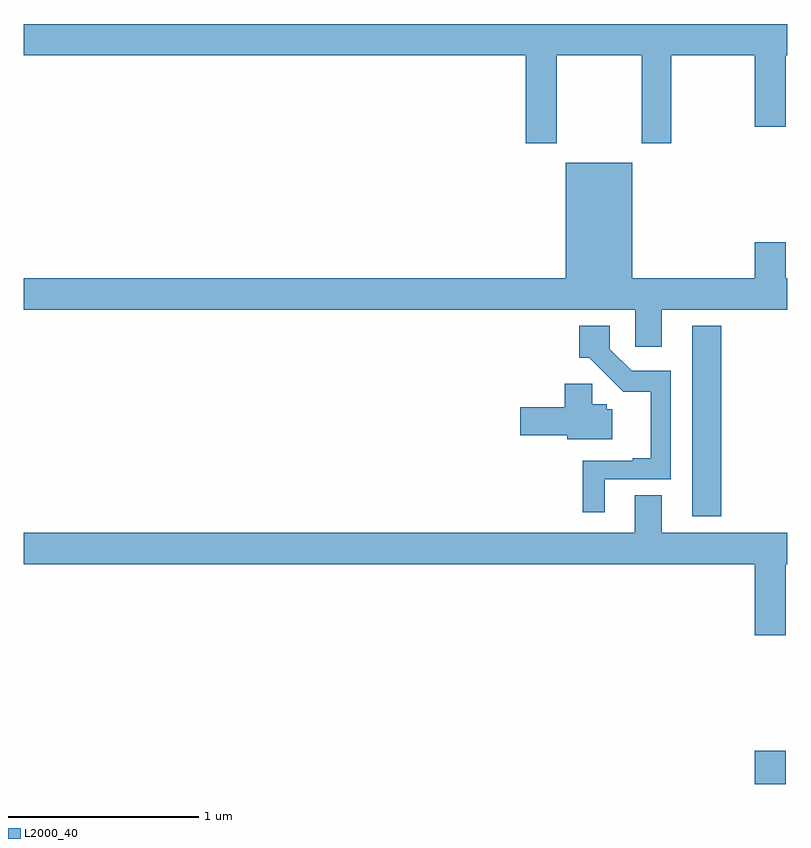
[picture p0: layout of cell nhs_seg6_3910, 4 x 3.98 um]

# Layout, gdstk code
import gdstk
lib = gdstk.Library(unit=1e-6, precision=1e-09)
def R(c, l, rs):  # rectangles x0, y0, x1, y1
    for r in rs: c.add(gdstk.rectangle(r[:2], r[2:], *l))
def P(c, l, *ps):  # polygons
    for p in ps: c.add(gdstk.Polygon(p, *l))
L2000_40 = (2000, 40)

nhs_seg6_3910 = lib.new_cell('nhs_seg6_3910')
R(nhs_seg6_3910, L2000_40, [(344.828,963.5,344.992,963.673), (344.501,964.901,344.654,965.899)])
P(nhs_seg6_3910, L2000_40, [(343.791,967.316),(344.236,967.316),(344.236,966.855),(344.391,966.855),(344.391,967.316),(344.828,967.316),(344.828,966.942),(344.992,966.942),(344.992,967.316),(345,967.316),(345,967.48),(341,967.48),(341,967.316),(343.631,967.316),(343.631,966.855),(343.791,966.855)],
  [(344.341,965.984),(345,965.984),(345,966.148),(344.992,966.148),(344.992,966.337),(344.828,966.337),(344.828,966.148),(344.188,966.148),(344.188,966.754),(343.838,966.754),(343.838,966.148),(341,966.148),(341,965.984),(344.202,965.984),(344.202,965.79),(344.341,965.79)],
  [(344.044,965.097),(344.389,965.097),(344.389,965.664),(344.184,965.664),(344.07,965.778),(344.07,965.899),(343.91,965.899),(343.91,965.732),(343.963,965.732),(344.141,965.555),(344.285,965.555),(344.285,965.206),(344.189,965.206),(344.189,965.193),(343.927,965.193),(343.927,964.923),(344.044,964.923)],
  [(344.083,965.463),(344.055,965.463),(344.055,965.49),(343.979,965.49),(343.979,965.595),(343.835,965.595),(343.835,965.474),(343.602,965.474),(343.602,965.327),(343.847,965.327),(343.847,965.306),(344.083,965.306)],
  [(344.992,964.652),(345,964.652),(345,964.816),(344.341,964.816),(344.341,965.011),(344.201,965.011),(344.201,964.816),(341,964.816),(341,964.652),(344.828,964.652),(344.828,964.278),(344.992,964.278)])

lib.write_gds('nhs_seg6_3910.gds')
